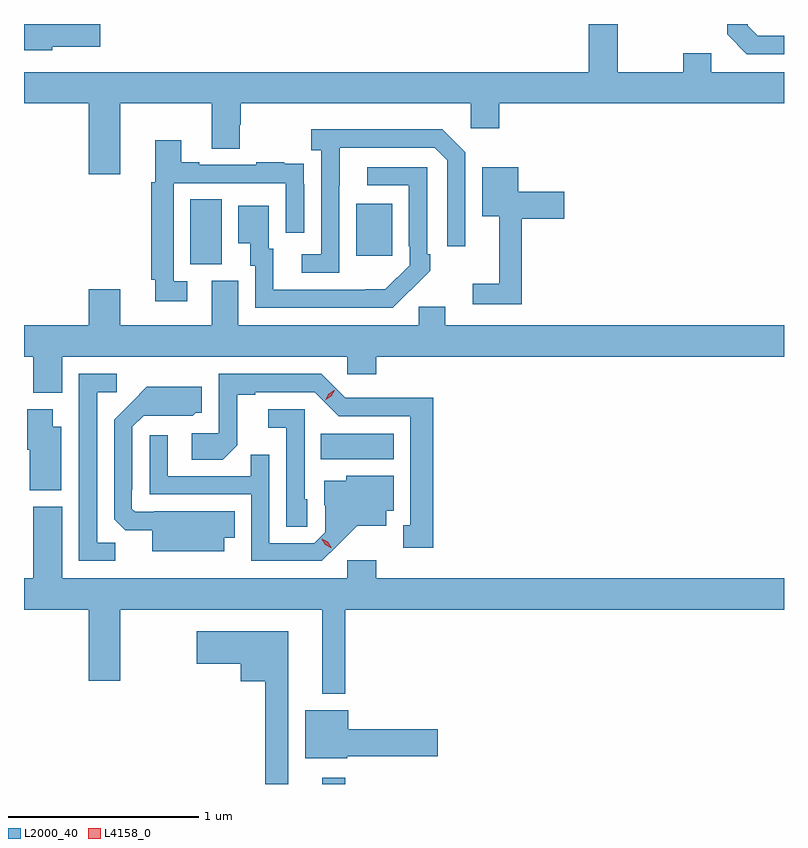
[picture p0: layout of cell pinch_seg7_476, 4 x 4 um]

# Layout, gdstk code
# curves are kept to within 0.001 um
import gdstk
lib = gdstk.Library(unit=1e-6, precision=1e-09)
def R(c, l, rs):  # rectangles x0, y0, x1, y1
    for r in rs: c.add(gdstk.rectangle(r[:2], r[2:], *l))
def P(c, l, *ps):  # polygons
    for p in ps: c.add(gdstk.Polygon(p, *l))
L2000_40 = (2000, 40)
L4158_0 = (4158, 0)

pinch_seg7_476 = lib.new_cell('pinch_seg7_476')
R(pinch_seg7_476, L2000_40, [(226.175,1064.966,226.297,1064.998), (226.168,1066.676,226.552,1066.81), (225.482,1067.701,225.646,1068.044), (226.355,1067.745,226.543,1068.019)])
P(pinch_seg7_476, L2000_40, [(225.112,1068.548),(225.593,1068.548),(225.593,1068.31),(225.741,1068.31),(225.741,1068.435),(225.746,1068.435),(225.746,1068.548),(226.956,1068.548),(226.956,1068.417),(227.108,1068.417),(227.108,1068.548),(228.606,1068.548),(228.606,1068.712),(228.223,1068.712),(228.223,1068.811),(228.076,1068.811),(228.076,1068.712),(227.731,1068.712),(227.731,1068.966),(227.579,1068.966),(227.579,1068.712),(224.606,1068.712),(224.606,1068.548),(224.948,1068.548),(224.948,1068.174),(225.112,1068.174)],
  [(228.606,1068.903),(228.468,1068.903),(228.414,1068.957),(228.414,1068.966),(228.306,1068.966),(228.306,1068.913),(228.411,1068.807),(228.606,1068.807)],
  [(224.754,1068.845),(225.007,1068.845),(225.007,1068.966),(224.606,1068.966),(224.606,1068.827),(224.754,1068.827)],
  [(226.266,1068.115),(226.267,1068.315),(226.767,1068.315),(226.833,1068.249),(226.833,1067.796),(226.929,1067.796),(226.929,1068.291),(226.808,1068.412),(226.119,1068.412),(226.119,1068.302),(226.17,1068.302),(226.17,1067.754),(226.068,1067.754),(226.068,1067.658),(226.266,1067.658)],
  [(225.466,1067.613),(225.393,1067.613),(225.393,1068.129),(225.984,1068.129),(225.984,1067.868),(226.08,1067.868),(226.08,1068.122),(226.079,1068.122),(226.079,1068.231),(225.977,1068.231),(225.977,1068.238),(225.829,1068.238),(225.829,1068.225),(225.529,1068.225),(225.529,1068.238),(225.433,1068.238),(225.433,1068.355),(225.296,1068.355),(225.296,1068.132),(225.277,1068.132),(225.277,1067.62),(225.296,1067.62),(225.296,1067.508),(225.466,1067.508)],
  [(226.637,1067.563),(226.638,1067.562),(226.743,1067.667),(226.743,1067.755),(226.728,1067.755),(226.728,1068.213),(226.413,1068.213),(226.413,1068.117),(226.632,1068.117),(226.632,1067.797),(226.635,1067.797),(226.635,1067.697),(226.507,1067.569),(225.919,1067.568),(225.919,1067.784),(225.895,1067.784),(225.895,1068.01),(225.734,1068.01),(225.734,1067.813),(225.797,1067.813),(225.797,1067.694),(225.822,1067.694),(225.822,1067.472),(226.546,1067.472)],
  [(227.225,1067.942),(227.449,1067.942),(227.449,1068.084),(227.206,1068.084),(227.206,1068.211),(227.018,1068.211),(227.018,1067.954),(227.108,1067.954),(227.108,1067.599),(226.968,1067.599),(226.968,1067.49),(227.225,1067.49)],
  [(224.806,1067.216),(226.308,1067.216),(226.308,1067.123),(226.46,1067.123),(226.46,1067.216),(228.606,1067.216),(228.606,1067.38),(226.822,1067.38),(226.822,1067.478),(226.683,1067.478),(226.683,1067.38),(225.733,1067.38),(225.733,1067.616),(225.593,1067.616),(225.593,1067.38),(225.112,1067.38),(225.112,1067.569),(224.948,1067.569),(224.948,1067.38),(224.606,1067.38),(224.606,1067.216),(224.654,1067.216),(224.654,1067.024),(224.806,1067.024)],
  [(225.087,1066.235),(224.991,1066.235),(224.991,1067.028),(225.094,1067.028),(225.094,1067.124),(224.895,1067.124),(224.895,1066.14),(225.087,1066.14)],
  [(226.759,1067),(226.518,1067),(226.518,1066.998),(226.296,1066.998),(226.17,1067.124),(225.63,1067.124),(225.63,1066.812),(225.489,1066.812),(225.489,1066.672),(225.653,1066.672),(225.729,1066.748),(225.729,1067.016),(225.823,1067.016),(225.823,1067.028),(226.137,1067.028),(226.263,1066.902),(226.64,1066.902),(226.64,1066.329),(226.601,1066.329),(226.601,1066.209),(226.759,1066.209)],
  [(225.661,1066.262),(225.716,1066.262),(225.716,1066.402),(225.292,1066.402),(225.292,1066.398),(225.192,1066.398),(225.174,1066.416),(225.174,1066.516),(225.177,1066.516),(225.177,1066.845),(225.237,1066.905),(225.494,1066.904),(225.51,1066.92),(225.541,1066.92),(225.541,1067.056),(225.253,1067.056),(225.081,1066.882),(225.081,1066.36),(225.14,1066.301),(225.281,1066.301),(225.281,1066.19),(225.661,1066.19)],
  [(224.803,1066.846),(224.758,1066.846),(224.758,1066.939),(224.624,1066.939),(224.624,1066.725),(224.636,1066.725),(224.636,1066.511),(224.803,1066.511)],
  [(226.098,1066.464),(226.083,1066.464),(226.083,1066.938),(225.891,1066.938),(225.891,1066.841),(225.987,1066.841),(225.987,1066.321),(226.098,1066.321)],
  [(226.258,1066.223),(226.361,1066.325),(226.513,1066.325),(226.513,1066.404),(226.552,1066.404),(226.552,1066.588),(226.302,1066.588),(226.302,1066.561),(226.187,1066.561),(226.187,1066.432),(226.191,1066.432),(226.191,1066.29),(226.134,1066.233),(225.897,1066.233),(225.897,1066.7),(225.799,1066.7),(225.799,1066.587),(225.363,1066.587),(225.363,1066.801),(225.267,1066.801),(225.267,1066.491),(225.801,1066.491),(225.801,1066.14),(226.174,1066.14)],
  [(226.297,1065.884),(228.606,1065.884),(228.606,1066.048),(226.46,1066.048),(226.46,1066.144),(226.308,1066.144),(226.308,1066.048),(224.806,1066.048),(224.806,1066.426),(224.654,1066.426),(224.654,1066.048),(224.606,1066.048),(224.606,1065.884),(224.948,1065.884),(224.948,1065.51),(225.112,1065.51),(225.112,1065.884),(226.175,1065.884),(226.175,1065.44),(226.297,1065.44)],
  [(225.997,1065.769),(225.516,1065.769),(225.516,1065.599),(225.746,1065.599),(225.746,1065.506),(225.876,1065.506),(225.876,1064.966),(225.997,1064.966)],
  [(226.308,1065.112),(226.783,1065.112),(226.783,1065.254),(226.312,1065.254),(226.312,1065.355),(226.085,1065.355),(226.085,1065.101),(226.308,1065.101)])
P(pinch_seg7_476, L4158_0, [(226.191,1066.987),(226.191,1066.987),(226.209,1067.02),(226.24,1067.039),(226.241,1067.039),(226.241,1067.039),(226.223,1067.006),(226.191,1066.987)],
  [(226.221,1066.21),(226.191,1066.226),(226.173,1066.255),(226.173,1066.256),(226.174,1066.256),(226.204,1066.24),(226.222,1066.211),(226.222,1066.21)])

lib.write_gds('pinch_seg7_476.gds')
